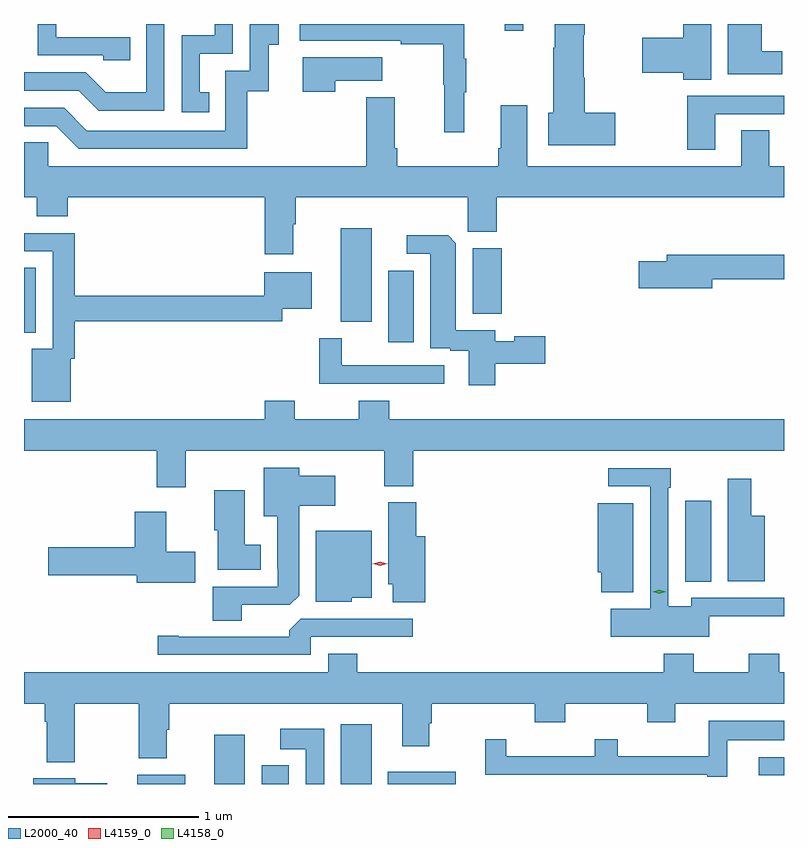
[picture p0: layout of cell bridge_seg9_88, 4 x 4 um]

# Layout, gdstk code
import gdstk
lib = gdstk.Library(unit=1e-6, precision=1e-09)
def R(c, l, rs):  # rectangles x0, y0, x1, y1
    for r in rs: c.add(gdstk.rectangle(r[:2], r[2:], *l))
def P(c, l, *ps):  # polygons
    for p in ps: c.add(gdstk.Polygon(p, *l))
L2000_40 = (2000, 40)
L4158_0 = (4158, 0)
L4159_0 = (4159, 0)

bridge_seg9_88 = lib.new_cell('bridge_seg9_88')
R(bridge_seg9_88, L2000_40, [(816.044,1229.297,816.295,1229.347), (816.449,1229.297,816.61,1229.557), (816.698,1229.297,816.841,1229.395), (817.115,1229.297,817.276,1229.611), (817.361,1229.297,817.72,1229.362), (819.315,1229.343,819.447,1229.439), (818.927,1230.361,819.064,1230.787), (817.364,1231.623,817.498,1231.999), (815.447,1231.673,815.509,1232.015), (817.115,1231.731,817.276,1232.221), (817.808,1231.771,817.961,1232.118), (817.977,1233.261,818.074,1233.297)])
P(bridge_seg9_88, L2000_40, [(819.439,1233.154),(819.331,1233.154),(819.331,1233.297),(819.152,1233.297),(819.152,1233.032),(819.439,1233.032)],
  [(816.623,1232.943),(816.734,1232.943),(816.734,1233.189),(816.787,1233.189),(816.787,1233.297),(816.636,1233.297),(816.636,1233.051),(816.507,1233.051),(816.507,1232.736),(815.778,1232.736),(815.658,1232.856),(815.447,1232.856),(815.447,1232.76),(815.616,1232.76),(815.736,1232.64),(816.623,1232.64)],
  [(819.064,1233.297),(818.918,1233.297),(818.918,1233.224),(818.7,1233.224),(818.7,1233.041),(818.918,1233.041),(818.918,1233.004),(819.064,1233.004)],
  [(816.186,1233.297),(816.09,1233.297),(816.09,1232.938),(815.876,1232.938),(815.772,1233.042),(815.447,1233.042),(815.447,1232.946),(815.735,1232.946),(815.84,1232.841),(816.186,1232.841)],
  [(816.422,1232.937),(816.373,1232.937),(816.373,1233.141),(816.546,1233.141),(816.546,1233.297),(816.45,1233.297),(816.45,1233.237),(816.276,1233.237),(816.276,1232.832),(816.422,1232.832)],
  [(818.56,1232.831),(818.399,1232.831),(818.399,1233.014),(818.394,1233.014),(818.394,1233.24),(818.399,1233.24),(818.399,1233.297),(818.24,1233.297),(818.24,1233.173),(818.233,1233.173),(818.233,1232.831),(818.207,1232.831),(818.207,1232.66),(818.56,1232.66)],
  [(817.763,1232.939),(817.774,1232.939),(817.774,1233.113),(817.763,1233.113),(817.763,1233.297),(816.897,1233.297),(816.897,1233.21),(817.429,1233.21),(817.429,1233.19),(817.653,1233.19),(817.653,1232.976),(817.66,1232.976),(817.66,1232.727),(817.763,1232.727)],
  [(816.005,1233.228),(815.616,1233.228),(815.616,1233.297),(815.52,1233.297),(815.52,1233.132),(815.865,1233.132),(815.865,1233.105),(816.005,1233.105)],
  [(817.085,1232.999),(817.333,1232.999),(817.333,1233.121),(816.914,1233.121),(816.914,1232.94),(817.085,1232.94)],
  [(819.085,1232.823),(819.447,1232.823),(819.447,1232.919),(818.938,1232.919),(818.938,1232.634),(819.085,1232.634)],
  [(815.447,1232.675),(815.447,1232.384),(815.513,1232.384),(815.513,1232.285),(815.678,1232.285),(815.678,1232.384),(816.713,1232.384),(816.713,1232.085),(816.865,1232.085),(816.865,1232.243),(816.878,1232.243),(816.878,1232.384),(817.783,1232.384),(817.783,1232.203),(817.934,1232.203),(817.934,1232.384),(819.447,1232.384),(819.447,1232.548),(819.369,1232.548),(819.369,1232.738),(819.221,1232.738),(819.221,1232.548),(818.095,1232.548),(818.095,1232.869),(817.955,1232.869),(817.955,1232.644),(817.943,1232.644),(817.943,1232.548),(817.412,1232.548),(817.412,1232.644),(817.399,1232.644),(817.399,1232.911),(817.247,1232.911),(817.247,1232.548),(815.574,1232.548),(815.574,1232.675)],
  [(815.694,1231.535),(815.714,1231.535),(815.714,1231.732),(816.807,1231.732),(816.807,1231.799),(816.961,1231.799),(816.961,1231.99),(816.711,1231.99),(816.711,1231.868),(815.714,1231.868),(815.714,1232.196),(815.447,1232.196),(815.447,1232.1),(815.598,1232.1),(815.598,1231.588),(815.489,1231.588),(815.489,1231.31),(815.694,1231.31)],
  [(817.927,1231.51),(818.191,1231.51),(818.191,1231.654),(818.028,1231.654),(818.028,1231.627),(817.927,1231.627),(817.927,1231.686),(817.72,1231.686),(817.72,1232.144),(817.679,1232.186),(817.461,1232.186),(817.461,1232.088),(817.586,1232.088),(817.586,1231.59),(817.691,1231.59),(817.691,1231.578),(817.787,1231.578),(817.787,1231.395),(817.927,1231.395)],
  [(819.07,1231.954),(819.447,1231.954),(819.447,1232.083),(818.831,1232.083),(818.831,1232.049),(818.682,1232.049),(818.682,1231.907),(819.07,1231.907)],
  [(817.66,1231.5),(817.119,1231.5),(817.119,1231.642),(817,1231.642),(817,1231.404),(817.66,1231.404)],
  [(816.298,1231.052),(817.343,1231.052),(817.343,1230.865),(817.496,1230.865),(817.496,1231.052),(819.447,1231.052),(819.447,1231.216),(817.37,1231.216),(817.37,1231.315),(817.21,1231.315),(817.21,1231.216),(816.873,1231.216),(816.873,1231.315),(816.713,1231.315),(816.713,1231.216),(815.447,1231.216),(815.447,1231.052),(816.146,1231.052),(816.146,1230.858),(816.298,1230.858)],
  [(816.592,1230.24),(816.846,1230.24),(816.895,1230.289),(816.895,1230.761),(817.084,1230.761),(817.084,1230.919),(816.895,1230.919),(816.895,1230.961),(816.71,1230.961),(816.71,1230.707),(816.779,1230.707),(816.779,1230.433),(816.783,1230.433),(816.783,1230.336),(816.44,1230.336),(816.44,1230.157),(816.592,1230.157)],
  [(819.054,1230.179),(819.447,1230.179),(819.447,1230.276),(818.958,1230.276),(818.958,1230.232),(818.838,1230.232),(818.838,1230.857),(818.851,1230.857),(818.851,1230.96),(818.523,1230.96),(818.523,1230.864),(818.742,1230.864),(818.742,1230.22),(818.535,1230.22),(818.535,1230.071),(819.054,1230.071)],
  [(819.346,1230.709),(819.274,1230.709),(819.274,1230.904),(819.152,1230.904),(819.152,1230.365),(819.346,1230.365)],
  [(816.694,1230.556),(816.61,1230.556),(816.61,1230.844),(816.449,1230.844),(816.449,1230.633),(816.467,1230.633),(816.467,1230.425),(816.694,1230.425)],
  [(817.559,1230.601),(817.511,1230.601),(817.511,1230.78),(817.364,1230.78),(817.364,1230.348),(817.388,1230.348),(817.388,1230.253),(817.559,1230.253)],
  [(818.653,1230.775),(818.468,1230.775),(818.468,1230.411),(818.486,1230.411),(818.486,1230.305),(818.653,1230.305)],
  [(816.349,1230.519),(816.196,1230.519),(816.196,1230.73),(816.029,1230.73),(816.029,1230.542),(815.574,1230.542),(815.574,1230.395),(816.041,1230.395),(816.041,1230.356),(816.349,1230.356)],
  [(817.173,1230.278),(817.276,1230.278),(817.276,1230.631),(816.983,1230.631),(816.983,1230.257),(817.173,1230.257)],
  [(816.957,1230.072),(817.492,1230.072),(817.492,1230.168),(816.903,1230.168),(816.842,1230.106),(816.842,1230.072),(816.262,1230.072),(816.262,1230.077),(816.15,1230.077),(816.15,1229.976),(816.957,1229.976)],
  [(815.715,1229.72),(816.052,1229.72),(816.052,1229.432),(816.199,1229.432),(816.199,1229.582),(816.212,1229.582),(816.212,1229.72),(817.439,1229.72),(817.439,1229.496),(817.579,1229.496),(817.579,1229.616),(817.592,1229.616),(817.592,1229.72),(818.135,1229.72),(818.135,1229.621),(818.295,1229.621),(818.295,1229.72),(818.728,1229.72),(818.728,1229.621),(818.875,1229.621),(818.875,1229.72),(819.447,1229.72),(819.447,1229.884),(819.422,1229.884),(819.422,1229.983),(819.262,1229.983),(819.262,1229.884),(818.973,1229.884),(818.973,1229.983),(818.813,1229.983),(818.813,1229.884),(817.202,1229.884),(817.202,1229.983),(817.049,1229.983),(817.049,1229.884),(815.447,1229.884),(815.447,1229.72),(815.555,1229.72),(815.555,1229.624),(815.567,1229.624),(815.567,1229.411),(815.715,1229.411)],
  [(819.148,1229.528),(819.447,1229.528),(819.447,1229.629),(819.05,1229.629),(819.05,1229.443),(818.572,1229.443),(818.572,1229.533),(818.451,1229.533),(818.451,1229.443),(817.984,1229.443),(817.984,1229.533),(817.874,1229.533),(817.874,1229.346),(819.044,1229.346),(819.044,1229.334),(819.148,1229.334)],
  [(817.026,1229.587),(816.795,1229.587),(816.795,1229.48),(816.93,1229.48),(816.93,1229.297),(817.026,1229.297)],
  [(815.884,1229.302),(815.718,1229.302),(815.718,1229.326),(815.495,1229.326),(815.495,1229.297),(815.884,1229.297)])
P(bridge_seg9_88, L4158_0, [(818.791,1230.299),(818.756,1230.308),(818.756,1230.308),(818.756,1230.308),(818.79,1230.319),(818.825,1230.31),(818.825,1230.31),(818.825,1230.309)])
P(bridge_seg9_88, L4159_0, [(817.321,1230.446),(817.283,1230.456),(817.283,1230.456),(817.283,1230.456),(817.321,1230.466),(817.358,1230.456),(817.358,1230.456),(817.358,1230.456)])

lib.write_gds('bridge_seg9_88.gds')
